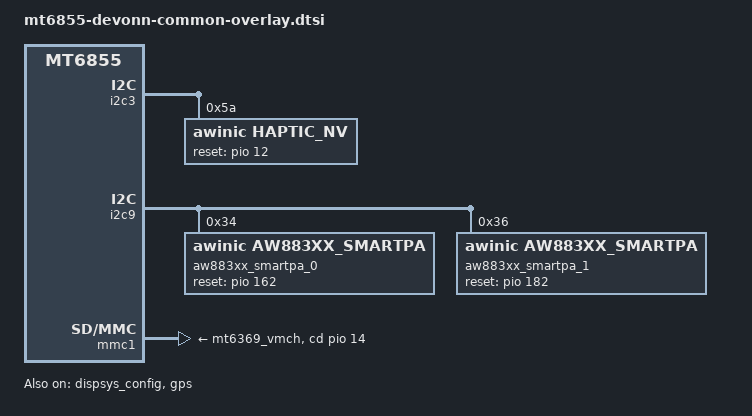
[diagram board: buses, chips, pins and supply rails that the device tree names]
/* Copyright (c) 2020, The Linux Foundation. All rights reserved.
 *
 * This program is free software; you can redistribute it and/or modify
 * it under the terms of the GNU General Public License version 2 and
 * only version 2 as published by the Free Software Foundation.
 *
 * This program is distributed in the hope that it will be useful,
 * but WITHOUT ANY WARRANTY; without even the implied warranty of
 * MERCHANTABILITY or FITNESS FOR A PARTICULAR PURPOSE.  See the
 * GNU General Public License for more details.
 */

#include "mediatek/mt6855-moto-common-overlay.dtsi"
#include <dt-bindings/gpio/gpio.h>
#include "mediatek/devonn-display.dtsi"
#include "mediatek/devonn-charger.dtsi"


&dispsys_config {
	pinctrl-names =
		"lcm_rst_out1_gpio", "lcm_rst_out0_gpio",
		"mode_te_te";
	pinctrl-0 = <&mtkfb_pins_lcm_rst_out1_gpio>;
	pinctrl-1 = <&mtkfb_pins_lcm_rst_out0_gpio>;
	pinctrl-2 = <&mtkfb_pins_lcm_dsi_te>;
	status = "okay";
};

/* GPS GPIO standardization start */
&pio {
	gps_pins_default: gps_default {
	};
	gps_l1_lna_pins_ol: gps_l1_lna@0 {
		pins_cmd_dat {
			pinmux = <PINMUX_GPIO133__FUNC_GPIO133>;
			output-low;
		};
	};
	gps_l1_lna_pins_dsp_ctrl: gps_l1_lna@1 {
		pins_cmd_dat {
			pinmux = <PINMUX_GPIO133__FUNC_GPS_L1_ELNA_EN>;
		};
	};
	gps_l1_lna_pins_oh: gps_l1_lna@2 {
		pins_cmd_dat {
			pinmux = <PINMUX_GPIO133__FUNC_GPIO133>;
			output-high;
		};
	};
	gps_l5_lna_pins_ol: gps_l5_lna@0 {
		pins_cmd_dat {
			pinmux = <PINMUX_GPIO134__FUNC_GPIO134>;
			output-low;
		};
	};
	gps_l5_lna_pins_dsp_ctrl: gps_l5_lna@1 {
		pins_cmd_dat {
			pinmux = <PINMUX_GPIO134__FUNC_GPS_L5_ELNA_EN>;
		};
	};
	gps_l5_lna_pins_oh: gps_l5_lna@2 {
		pins_cmd_dat {
			pinmux = <PINMUX_GPIO134__FUNC_GPIO134>;
			output-high;
		};
	};
};

&regulator_vibrator {
	status = "disabled";
};

&i2c3 {
	haptic_nv@5A{
		compatible = "awinic,haptic_nv";
		reg = < 0x5A >;
		aw862xx_i2c_addr = < 0x58 >;
		reset-gpio = <&pio 12 0>;
		aw8622x_vib_lk_f0_cali = < 0 >;
		aw8622x_vib_mode = < 2 >; /* mode: RAM -> 2; CONT -> 3 */
		aw8622x_vib_f0_pre = < 2350 >;
		aw8622x_vib_f0_cali_percen = < 7 >;
		aw8622x_vib_cont_drv1_lvl = < 0x7F >;
		aw8622x_vib_lra_vrms = < 1000 >; /* Motor rated voltage, mV */
		aw8622x_vib_cont_brk_time = < 0x06 >;
		aw8622x_vib_cont_tset = < 0x06 >;
		aw8622x_vib_cont_bemf_set = < 0x02 >;
		aw8622x_vib_cont_wait_num = < 0x06 >;
		aw8622x_vib_cont_brk_gain = < 0x08 >;
		aw8622x_vib_cont_drv1_time = < 0x04 >;
		aw8622x_vib_cont_drv2_time = < 0x14 >;
		aw8622x_vib_cont_track_margin = < 0x0F >;
		aw8622x_vib_sine_array = < 0x05 0xB2 0xFF 0xEF >; /* SIN_H SIN_L COS_H COS_L */
		aw8622x_vib_d2s_gain = < 0x05 >;
		aw8622x_vib_trig_config = < 0 0 0 1 0 2 0
					    0 0 0 1 0 2 0
					    0 0 0 1 0 2 0 >;
		aw8622x_vib_duration_time = < 34 67 100 >;
		status = "okay";
	};
};

&gps {
	pinctrl-names = "default",
		"gps_l1_lna_disable",
		"gps_l1_lna_dsp_ctrl",
		"gps_l1_lna_enable",
		"gps_l5_lna_disable",
		"gps_l5_lna_dsp_ctrl",
		"gps_l5_lna_enable";
	pinctrl-0 = <&gps_pins_default>;
	pinctrl-1 = <&gps_l1_lna_pins_ol>;
	pinctrl-2 = <&gps_l1_lna_pins_dsp_ctrl>;
	pinctrl-3 = <&gps_l1_lna_pins_oh>;
	pinctrl-4 = <&gps_l5_lna_pins_ol>;
	pinctrl-5 = <&gps_l5_lna_pins_dsp_ctrl>;
	pinctrl-6 = <&gps_l5_lna_pins_oh>;
	status = "okay";
};
/* GPS GPIO standardization end */

//#include "mediatek/cust_mt6855_touch_1080x2400.dtsi"
#include "mediatek/cust_mt6855_camera_v4l2.dtsi"


&i2c9 {
	status = "okay";
	aw883xx_smartpa_0: aw883xx@34 {
                compatible = "awinic,aw883xx_smartpa";
                #sound-dai-cells = <0>;
                reg = <0x34>;
                reset-gpio = <&pio 162 0>;
                sound-channel = <0>;
                re-min = <1000>;
                re-max = <40000>;
		rename-flag=<1>;
                status = "okay";
        };
        aw883xx_smartpa_1: aw883xx@36 {
                compatible = "awinic,aw883xx_smartpa";
                #sound-dai-cells = <0>;
                reg = <0x36>;
                reset-gpio = <&pio 182 0>;
                sound-channel = <1>;
                re-min = <1000>;
                re-max = <40000>;
		rename-flag=<1>;
                status = "okay";
        };
};

&sound {
	mediatek,spk-i2s = <3 0>;
	mediatek,speaker-codec {
		sound-dai = <&aw883xx_smartpa_0 &aw883xx_smartpa_1>;
	};
};

&pdc {
	pd_vbus_upper_bound = <12000000>;
};

&mmc1 {
	cd-gpios = <&pio 14 GPIO_ACTIVE_HIGH>;
	vmmc-supply = <&mt6369_vmch>;
};
#include "devonn-touch.dtsi"
//#include <k6855v1_64/cust.dtsi>
/*End of this file, DO NOT ADD ANYTHING HERE*/
